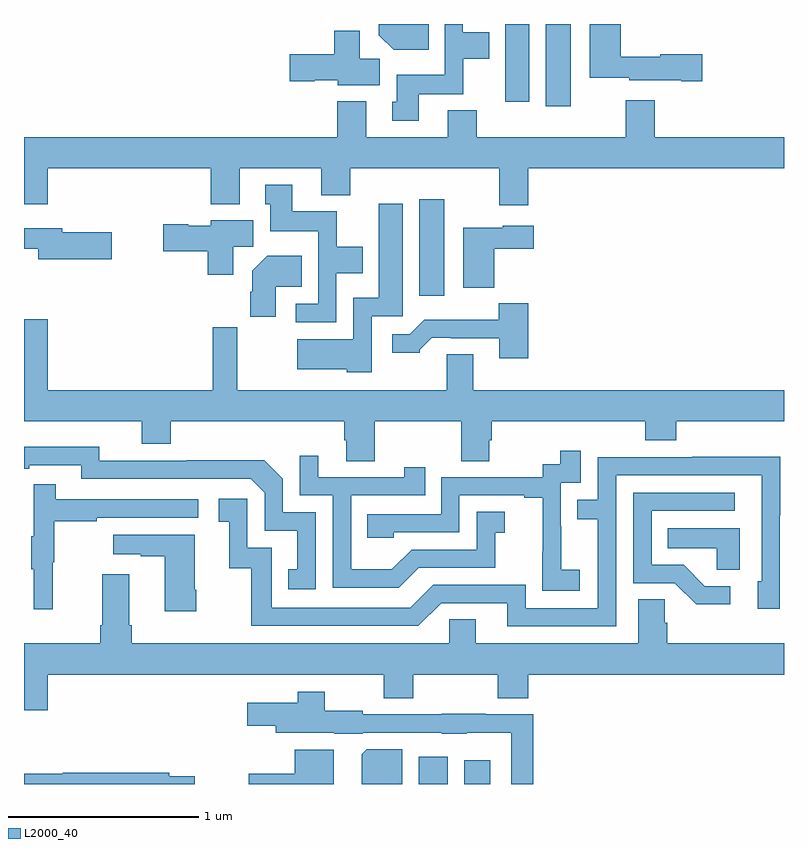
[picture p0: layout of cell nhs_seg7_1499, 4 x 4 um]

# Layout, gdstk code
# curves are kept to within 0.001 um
import gdstk
lib = gdstk.Library(unit=1e-6, precision=1e-09)
def R(c, l, rs):  # rectangles x0, y0, x1, y1
    for r in rs: c.add(gdstk.rectangle(r[:2], r[2:], *l))
def P(c, l, *ps):  # polygons
    for p in ps: c.add(gdstk.Polygon(p, *l))
L2000_40 = (2000, 40)

nhs_seg7_1499 = lib.new_cell('nhs_seg7_1499')
R(nhs_seg7_1499, L2000_40, [(215.078,1040,215.23,1040.143), (215.318,1040,215.455,1040.125), (215.081,1042.569,215.212,1043.077), (215.747,1043.568,215.878,1044), (215.534,1043.592,215.659,1044)])
P(nhs_seg7_1499, L2000_40, [(215.077,1043.63),(215.313,1043.63),(215.313,1043.816),(215.449,1043.816),(215.449,1043.956),(215.31,1043.956),(215.31,1044),(215.214,1044),(215.214,1043.734),(214.961,1043.734),(214.961,1043.592),(214.937,1043.592),(214.937,1043.49),(215.077,1043.49)],
  [(215.129,1044),(214.868,1044),(214.868,1043.942),(214.946,1043.864),(215.129,1043.864)],
  [(216.571,1043.84),(216.348,1043.84),(216.348,1043.827),(216.14,1043.827),(216.14,1044),(215.978,1044),(215.978,1043.717),(216.186,1043.717),(216.186,1043.705),(216.458,1043.705),(216.458,1043.698),(216.571,1043.698)],
  [(214.873,1043.816),(214.768,1043.816),(214.768,1043.965),(214.634,1043.965),(214.634,1043.84),(214.398,1043.84),(214.398,1043.698),(214.53,1043.698),(214.53,1043.705),(214.65,1043.705),(214.65,1043.678),(214.873,1043.678)],
  [(215.654,1043.24),(217,1043.24),(217,1043.404),(216.32,1043.404),(216.32,1043.599),(216.167,1043.599),(216.167,1043.404),(215.384,1043.404),(215.384,1043.545),(215.231,1043.545),(215.231,1043.404),(214.801,1043.404),(214.801,1043.593),(214.649,1043.593),(214.649,1043.404),(213,1043.404),(213,1043.052),(213.124,1043.052),(213.124,1043.24),(213.983,1043.24),(213.983,1043.051),(214.135,1043.051),(214.135,1043.24),(214.565,1043.24),(214.565,1043.099),(214.718,1043.099),(214.718,1043.24),(215.501,1043.24),(215.501,1043.046),(215.654,1043.046)],
  [(214.644,1042.688),(214.783,1042.688),(214.783,1042.828),(214.647,1042.828),(214.647,1043.014),(214.411,1043.014),(214.411,1043.155),(214.271,1043.155),(214.271,1043.052),(214.295,1043.052),(214.295,1042.91),(214.548,1042.91),(214.548,1042.527),(214.431,1042.527),(214.431,1042.431),(214.644,1042.431)],
  [(214.83,1042.461),(214.993,1042.461),(214.993,1043.053),(214.868,1043.053),(214.868,1042.558),(214.734,1042.558),(214.734,1042.342),(214.437,1042.342),(214.437,1042.184),(214.698,1042.184),(214.698,1042.166),(214.83,1042.166)],
  [(214.102,1042.828),(214.207,1042.828),(214.207,1042.966),(213.984,1042.966),(213.984,1042.939),(213.864,1042.939),(213.864,1042.947),(213.732,1042.947),(213.732,1042.805),(213.968,1042.805),(213.968,1042.68),(214.102,1042.68)],
  [(215.474,1042.817),(215.683,1042.817),(215.683,1042.939),(215.52,1042.939),(215.52,1042.927),(215.312,1042.927),(215.312,1042.613),(215.474,1042.613)],
  [(213.463,1042.905),(213.202,1042.905),(213.202,1042.926),(213,1042.926),(213,1042.818),(213.074,1042.818),(213.074,1042.763),(213.463,1042.763)],
  [(214.324,1042.616),(214.463,1042.616),(214.463,1042.78),(214.28,1042.78),(214.202,1042.702),(214.202,1042.592),(214.19,1042.592),(214.19,1042.458),(214.324,1042.458)],
  [(215.654,1042.531),(215.499,1042.531),(215.499,1042.444),(215.107,1042.444),(215.031,1042.368),(214.938,1042.368),(214.938,1042.271),(215.082,1042.271),(215.082,1042.286),(215.146,1042.35),(215.245,1042.35),(215.245,1042.347),(215.501,1042.347),(215.501,1042.242),(215.654,1042.242)],
  [(214.845,1041.908),(215.302,1041.908),(215.302,1041.7),(215.449,1041.7),(215.449,1041.81),(215.462,1041.81),(215.462,1041.908),(216.269,1041.908),(216.269,1041.809),(216.434,1041.809),(216.434,1041.908),(217,1041.908),(217,1042.072),(215.365,1042.072),(215.365,1042.262),(215.225,1042.262),(215.225,1042.072),(214.123,1042.072),(214.123,1042.405),(213.994,1042.405),(213.994,1042.072),(213.124,1042.072),(213.124,1042.447),(213,1042.447),(213,1041.908),(213.62,1041.908),(213.62,1041.791),(213.773,1041.791),(213.773,1041.908),(214.685,1041.908),(214.685,1041.81),(214.697,1041.81),(214.697,1041.7),(214.845,1041.7)],
  [(214.536,1041.429),(214.362,1041.429),(214.362,1041.606),(214.264,1041.704),(213.856,1041.704),(213.856,1041.702),(213.396,1041.702),(213.396,1041.775),(213,1041.774),(213,1041.658),(213.028,1041.658),(213.028,1041.678),(213.3,1041.678),(213.3,1041.606),(214.194,1041.606),(214.266,1041.534),(214.266,1041.333),(214.439,1041.333),(214.439,1041.129),(214.39,1041.129),(214.39,1041.024),(214.536,1041.024)],
  [(215.926,1041.127),(215.828,1041.127),(215.828,1041.356),(215.826,1041.356),(215.826,1041.585),(215.931,1041.585),(215.931,1041.754),(215.823,1041.754),(215.823,1041.684),(215.73,1041.684),(215.73,1041.615),(215.196,1041.615),(215.196,1041.42),(214.807,1041.42),(214.807,1041.297),(214.947,1041.297),(214.947,1041.324),(215.292,1041.324),(215.292,1041.519),(215.633,1041.519),(215.633,1041.507),(215.729,1041.507),(215.729,1041.223),(215.728,1041.223),(215.728,1041.017),(215.926,1041.017)],
  [(215.077,1041.138),(215.481,1041.138),(215.481,1041.323),(215.53,1041.323),(215.53,1041.433),(215.382,1041.433),(215.382,1041.234),(215.04,1041.234),(214.936,1041.13),(214.722,1041.13),(214.722,1041.519),(215.111,1041.519),(215.111,1041.667),(215,1041.667),(215,1041.615),(214.549,1041.615),(214.549,1041.727),(214.452,1041.727),(214.452,1041.519),(214.626,1041.519),(214.626,1041.033),(214.972,1041.033)],
  [(216.117,1041.624),(216.882,1041.624),(216.882,1041.066),(216.863,1041.066),(216.863,1040.922),(216.978,1040.922),(216.978,1041.415),(216.981,1041.415),(216.981,1041.722),(216.517,1041.722),(216.517,1041.72),(216.021,1041.72),(216.021,1041.495),(215.911,1041.495),(215.911,1041.394),(216.021,1041.394),(216.021,1040.925),(215.64,1040.925),(215.64,1041.048),(215.154,1041.048),(215.034,1040.928),(214.305,1040.928),(214.305,1041.243),(214.176,1041.243),(214.176,1041.502),(214.026,1041.502),(214.026,1041.381),(214.079,1041.381),(214.079,1041.135),(214.197,1041.135),(214.197,1040.832),(215.076,1040.832),(215.196,1040.952),(215.543,1040.952),(215.543,1040.829),(216.117,1040.829)],
  [(213.152,1041.168),(213.16,1041.168),(213.16,1041.382),(213.383,1041.382),(213.383,1041.402),(213.916,1041.402),(213.916,1041.498),(213.167,1041.498),(213.167,1041.577),(213.05,1041.577),(213.05,1041.305),(213.039,1041.305),(213.039,1041.131),(213.05,1041.131),(213.05,1040.919),(213.152,1040.919)],
  [(216.718,1041.042),(216.583,1041.042),(216.472,1041.153),(216.303,1041.153),(216.303,1041.438),(216.742,1041.438),(216.742,1041.534),(216.207,1041.534),(216.207,1041.057),(216.426,1041.057),(216.539,1040.945),(216.718,1040.945)],
  [(216.766,1041.346),(216.388,1041.346),(216.388,1041.242),(216.645,1041.242),(216.645,1041.127),(216.766,1041.127)],
  [(213.906,1041.022),(213.898,1041.022),(213.898,1041.313),(213.471,1041.313),(213.471,1041.209),(213.614,1041.209),(213.614,1041.199),(213.74,1041.199),(213.74,1040.91),(213.906,1040.91)],
  [(214.894,1040.452),(215.049,1040.452),(215.049,1040.576),(215.494,1040.576),(215.494,1040.452),(215.654,1040.452),(215.654,1040.576),(217,1040.576),(217,1040.74),(216.386,1040.74),(216.386,1040.849),(216.372,1040.849),(216.372,1040.972),(216.233,1040.972),(216.233,1040.74),(215.377,1040.74),(215.377,1040.867),(215.238,1040.867),(215.238,1040.74),(213.566,1040.74),(213.566,1040.836),(213.553,1040.836),(213.553,1041.103),(213.413,1041.103),(213.413,1040.836),(213.401,1040.836),(213.401,1040.74),(213,1040.74),(213,1040.388),(213.124,1040.388),(213.124,1040.576),(214.894,1040.576)],
  [(215.681,1040.367),(215.431,1040.367),(215.431,1040.369),(215.199,1040.369),(215.199,1040.367),(214.782,1040.367),(214.782,1040.386),(214.582,1040.386),(214.582,1040.485),(214.441,1040.485),(214.441,1040.428),(214.176,1040.428),(214.176,1040.306),(214.325,1040.306),(214.325,1040.27),(214.632,1040.27),(214.632,1040.264),(214.782,1040.264),(214.782,1040.271),(215.199,1040.271),(215.199,1040.264),(215.331,1040.264),(215.331,1040.27),(215.565,1040.27),(215.565,1040),(215.681,1040)],
  [(214.99,1040.182),(214.804,1040.182),(214.778,1040.156),(214.778,1040),(214.99,1040)],
  [(214.63,1040.18),(214.424,1040.18),(214.424,1040.053),(214.184,1040.053),(214.184,1040),(214.63,1040)],
  [(213.898,1040.04),(213.764,1040.04),(213.764,1040.06),(213.204,1040.06),(213.204,1040.053),(213,1040.053),(213,1040),(213.898,1040)])

lib.write_gds('nhs_seg7_1499.gds')
